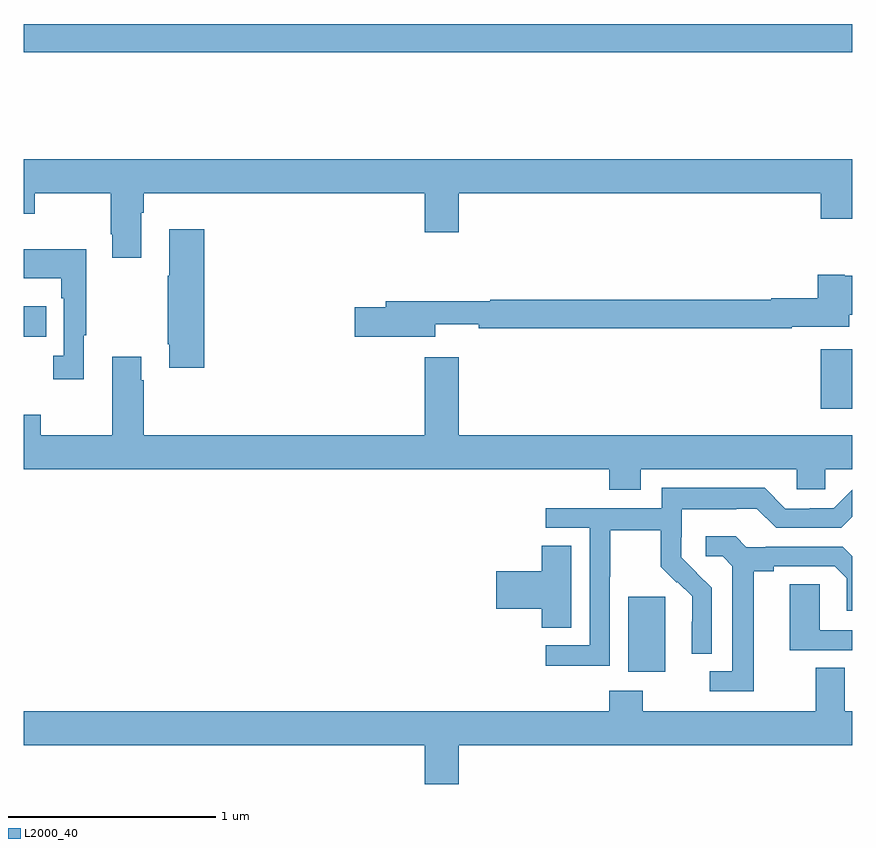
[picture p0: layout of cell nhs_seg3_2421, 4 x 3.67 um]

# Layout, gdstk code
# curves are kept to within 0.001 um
import gdstk
lib = gdstk.Library(unit=1e-6, precision=1e-09)
def R(c, l, rs):  # rectangles x0, y0, x1, y1
    for r in rs: c.add(gdstk.rectangle(r[:2], r[2:], *l))
def P(c, l, *ps):  # polygons
    for p in ps: c.add(gdstk.Polygon(p, *l))
L2000_40 = (2000, 40)

nhs_seg3_2421 = lib.new_cell('nhs_seg3_2421')
R(nhs_seg3_2421, L2000_40, [(237.917,737.234,238.096,737.595), (235,738.85,235.109,738.997), (235,740.224,239,740.36)])
P(nhs_seg3_2421, L2000_40, [(235.567,739.448),(235.58,739.448),(235.58,739.544),(236.936,739.544),(236.936,739.356),(237.1,739.356),(237.1,739.544),(238.847,739.544),(238.847,739.42),(239,739.42),(239,739.708),(235,739.708),(235,739.445),(235.053,739.445),(235.053,739.544),(235.42,739.544),(235.42,739.345),(235.427,739.345),(235.427,739.233),(235.567,739.233)],
  [(235.871,739.369),(235.703,739.369),(235.703,739.145),(235.696,739.145),(235.696,738.814),(235.703,738.814),(235.703,738.702),(235.871,738.702)],
  [(235.291,738.857),(235.303,738.857),(235.303,739.273),(235,739.273),(235,739.133),(235.182,739.133),(235.182,739.037),(235.194,739.037),(235.194,738.758),(235.143,738.758),(235.143,738.645),(235.291,738.645)],
  [(236.986,738.911),(237.196,738.911),(237.196,738.892),(238.708,738.892),(238.708,738.899),(238.984,738.899),(238.984,738.956),(239,738.956),(239,739.144),(238.962,739.144),(238.962,739.15),(238.832,739.15),(238.832,739.036),(238.608,739.036),(238.608,739.028),(237.251,739.028),(237.251,739.021),(236.747,739.021),(236.747,738.992),(236.598,738.992),(236.598,738.85),(236.986,738.85)],
  [(238.999,738.681),(239,738.681),(239,738.79),(238.847,738.79),(238.847,738.504),(238.999,738.504)],
  [(237.1,738.751),(236.936,738.751),(236.936,738.376),(235.58,738.376),(235.58,738.641),(235.567,738.641),(235.567,738.754),(235.427,738.754),(235.427,738.376),(235.083,738.376),(235.083,738.475),(235,738.475),(235,738.212),(237.827,738.212),(237.827,738.113),(237.979,738.113),(237.979,738.212),(238.731,738.212),(238.731,738.114),(238.869,738.114),(238.869,738.212),(239,738.212),(239,738.376),(237.1,738.376)],
  [(237.828,737.692),(237.831,737.692),(237.831,737.916),(238.075,737.916),(238.075,737.741),(238.152,737.664),(238.155,737.667),(238.226,737.597),(238.226,737.474),(238.224,737.474),(238.224,737.32),(238.32,737.32),(238.32,737.638),(238.174,737.786),(238.174,737.883),(238.176,737.883),(238.176,738.017),(238.439,738.017),(238.439,738.021),(238.539,738.021),(238.632,737.928),(238.947,737.928),(239,737.981),(239,738.113),(238.911,738.024),(238.793,738.024),(238.793,738.021),(238.677,738.021),(238.577,738.121),(238.08,738.121),(238.08,738.024),(237.519,738.024),(237.519,737.928),(237.732,737.928),(237.732,737.361),(237.519,737.361),(237.519,737.263),(237.828,737.263)],
  [(238.525,737.72),(238.621,737.72),(238.621,737.742),(238.916,737.742),(238.973,737.685),(238.973,737.529),(239,737.529),(239,737.792),(238.954,737.838),(238.582,737.838),(238.582,737.835),(238.488,737.835),(238.436,737.887),(238.293,737.887),(238.293,737.79),(238.374,737.79),(238.421,737.743),(238.421,737.235),(238.311,737.235),(238.311,737.139),(238.525,737.139)],
  [(237.643,737.843),(237.5,737.843),(237.5,737.72),(237.282,737.72),(237.282,737.537),(237.5,737.537),(237.5,737.446),(237.643,737.446)],
  [(239,737.433),(238.842,737.433),(238.842,737.657),(238.697,737.657),(238.697,737.337),(239,737.337)],
  [(237.1,736.88),(239,736.88),(239,737.044),(238.963,737.044),(238.963,737.252),(238.823,737.252),(238.823,737.044),(237.987,737.044),(237.987,737.143),(237.827,737.143),(237.827,737.044),(235,737.044),(235,736.88),(236.936,736.88),(236.936,736.692),(237.1,736.692)])

lib.write_gds('nhs_seg3_2421.gds')
